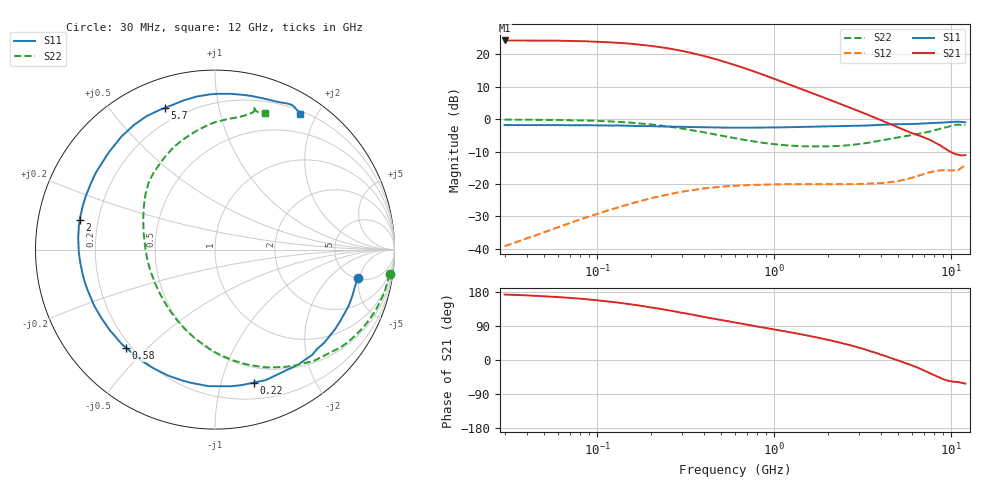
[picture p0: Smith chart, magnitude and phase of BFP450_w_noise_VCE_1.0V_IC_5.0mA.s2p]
! (c) 2015  Infineon Technologies AG, Munich
! Infineon Technologies  Discrete & RF Semiconductors
! BFP450
! VCE =  1.0 V,  IC =  5.0 mA
! Common Emitter S-Parameters:  Nov 2015
# GHz  S  MA  R  50
!  f  S11  S21  S12  S22
! GHz  MAG  ANG  MAG  ANG  MAG  ANG  MAG  ANG
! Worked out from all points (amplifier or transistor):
!   239 points, 30 MHz to 12 GHz, reference 50 ohm
!   highest |S21| = 24.2 dB at 30 MHz (marker M1)
!   |S21| within 3 dB of that: start of sweep to 287.5 MHz
!   unconditionally stable (mu >= 1): 2.44 GHz to end of sweep
!   at 300 MHz: K = 0.09, MSG = 21.7 dB, |S12| = -22.4 dB
!   at 1.88 GHz: K = 0.76, MSG = 13.4 dB, |S12| = -20.1 dB
!   at 12 GHz: K = 1.16, MAG = -0.9 dB, |S12| = -14.2 dB
!   lowest NFmin = 1.02 dB at 450 MHz
!   S11 on the Smith chart (normalised r, x): 30 MHz: 5.09, -4.70; 220 MHz: 0.35, -1.27; 580 MHz: 0.18, -0.43; 2 GHz: 0.13, +0.11; 5.7 GHz: 0.13, +0.70; 12 GHz: 0.24, +1.79
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0.03  0.8098 -11.3  16.29 172.8  0.011 84.6  0.9819 -8.0
0.05  0.8073 -19.2  16.27 168.1  0.018 80.1  0.9746 -13.3
0.085  0.8027 -31.9  15.84 160.8  0.0299 73.4  0.9511 -22.3
0.11  0.7995 -40.6  15.4 155.5  0.0377 68.7  0.9289 -28.5
0.14  0.7928 -50.6  14.8 149.7  0.0461 63.5  0.8984 -35.6
0.2  0.78 -68.8  13.47 138.8  0.0602 54.3  0.8287 -48.5
0.22  0.7718 -73.8  13 136.0  0.0637 51.5  0.8033 -52.1
0.24  0.7696 -78.9  12.56 133.0  0.0673 49.0  0.7813 -55.9
0.3  0.7616 -92.7  11.28 124.6  0.076 42.5  0.7166 -66.4
0.36  0.7521 -103.7  10.1 118.0  0.082 37.0  0.659 -75.3
0.45  0.7448 -117.6  8.631 109.3  0.0884 30.5  0.5891 -87.0
0.58  0.7384 -132.1  7.017 100.2  0.0933 23.9  0.5162 -100.5
0.6  0.7399 -134.2  6.798 98.7  0.094 23.0  0.5076 -102.6
0.7  0.7383 -142.5  5.906 93.2  0.0959 19.4  0.4713 -111.2
0.9  0.7423 -155.2  4.638 84.3  0.098 14.4  0.4252 -125.4
1.2  0.7498 -168.9  3.461 74.0  0.099 9.6  0.3923 -141.8
1.64  0.7626 176.8  2.509 62.1  0.0992 5.7  0.379 -159.5
2  0.7723 167.5  2.038 53.5  0.0992 3.7  0.3805 -170.7
3  0.7905 146.7  1.328 32.6  0.0999 1.3  0.4121 165.2
4.5  0.8282 123.1  0.838 6.0  0.106 0.5  0.4958 141.3
5.7  0.8374 109.6  0.641 -10.6  0.1201 -0.7  0.5541 126.6
12  0.8911 57.8  0.279 -62.4  0.1955 -37.9  0.809 69.7
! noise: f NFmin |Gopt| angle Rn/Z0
0.45  1.02  0.17  79  -0.42
0.9  1.04  0.32  121  0.06
1.9  1.3  0.52  173  0.06
2.4  1.54  0.55  -171  0.06
